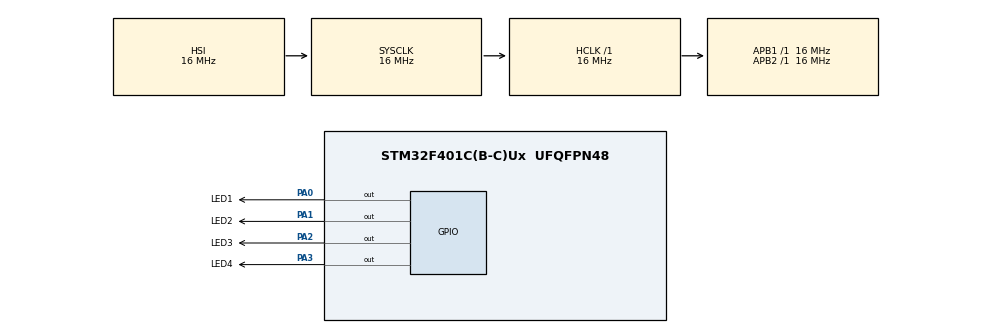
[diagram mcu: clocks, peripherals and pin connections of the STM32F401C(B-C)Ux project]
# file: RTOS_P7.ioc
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FREERTOS.Tasks01=defaultTask,0,128,StartDefaultTask,Default,NULL,Dynamic,NULL,NULL;LedRedTaks,0,128,red_led,Default,NULL,Dynamic,NULL,NULL;GreenLedTask,0,128,green_led,Default,NULL,Dynamic,NULL,NULL;YellowLedTask,-3,128,yellow_led,Default,NULL,Dynamic,NULL,NULL
FREERTOS.configUSE_NEWLIB_REENTRANT=1
Mcu.Family=STM32F4
Mcu.Name=STM32F401C(B-C)Ux
Mcu.Package=UFQFPN48
NVIC.PriorityGroup=NVIC_PRIORITYGROUP_4
NVIC.TIM4_IRQn=true\:15\:0\:false\:false\:true\:false\:false\:true\:true
NVIC.TimeBase=TIM4_IRQn
NVIC.TimeBaseIP=TIM4
PA0-WKUP.GPIO_Label=LED1
PA0-WKUP.Signal=GPIO_Output
PA1.GPIO_Label=LED2
PA1.Signal=GPIO_Output
PA13.Mode=Serial_Wire
PA13.Signal=SYS_JTMS-SWDIO
PA14.Mode=Serial_Wire
PA14.Signal=SYS_JTCK-SWCLK
PA2.GPIO_Label=LED3
PA2.Signal=GPIO_Output
PA3.GPIO_Label=LED4
PA3.Signal=GPIO_Output
ProjectManager.HeapSize=0x200
ProjectManager.StackSize=0x400
ProjectManager.TargetToolchain=STM32CubeIDE
RCC.AHBFreq_Value=16000000
RCC.APB1Freq_Value=16000000
RCC.APB2Freq_Value=16000000
RCC.CortexFreq_Value=16000000
RCC.HSE_VALUE=25000000
RCC.HSI_VALUE=16000000
RCC.LSE_VALUE=32768
RCC.SYSCLKFreq_VALUE=16000000
RCC.VCOOutputFreq_Value=192000000
VP_FREERTOS_VS_CMSIS_V1.Mode=CMSIS_V1
VP_SYS_VS_tim4.Mode=TIM4
board=custom

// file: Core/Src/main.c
/* USER CODE BEGIN Header */
/**
  ******************************************************************************
  * @file           : main.c
  * @brief          : Main program body
  ******************************************************************************
  * @attention
  *
  * Copyright (c) 2024 STMicroelectronics.
  * All rights reserved.
  *
  * This software is licensed under terms that can be found in the LICENSE file
  * in the root directory of this software component.
  * If no LICENSE file comes with this software, it is provided AS-IS.
  *
  ******************************************************************************
  */
/* USER CODE END Header */
#include "main.h"
#include "cmsis_os.h"

osThreadId defaultTaskHandle;
osThreadId LedRedTaksHandle;
osThreadId GreenLedTaskHandle;
osThreadId YellowLedTaskHandle;
/* USER CODE BEGIN PV */
volatile uint8_t startFlag = 1;
/* USER CODE END PV */

void SystemClock_Config(void);
static void MX_GPIO_Init(void);
void StartDefaultTask(void const * argument);
void red_led(void const * argument);
void green_led(void const * argument);
void yellow_led(void const * argument);

int main(void)
{

  /* MCU Configuration--------------------------------------------------------*/

  /* Reset of all peripherals, Initializes the Flash interface and the Systick. */
  HAL_Init();

  /* Configure the system clock */
  SystemClock_Config();

  /* Initialize all configured peripherals */
  MX_GPIO_Init();

  /* Create the thread(s) */
  /* definition and creation of defaultTask */
  osThreadDef(defaultTask, StartDefaultTask, osPriorityNormal, 0, 128);
  defaultTaskHandle = osThreadCreate(osThread(defaultTask), NULL);

  /* definition and creation of LedRedTaks */
  osThreadDef(LedRedTaks, red_led, osPriorityNormal, 0, 128);
  LedRedTaksHandle = osThreadCreate(osThread(LedRedTaks), NULL);

  /* definition and creation of GreenLedTask */
  osThreadDef(GreenLedTask, green_led, osPriorityNormal, 0, 128);
  GreenLedTaskHandle = osThreadCreate(osThread(GreenLedTask), NULL);

  /* definition and creation of YellowLedTask */
  osThreadDef(YellowLedTask, yellow_led, osPriorityIdle, 0, 128);
  YellowLedTaskHandle = osThreadCreate(osThread(YellowLedTask), NULL);

  /* Start scheduler */
  osKernelStart();

  /* We should never get here as control is now taken by the scheduler */

  /* Infinite loop */
  while (1)
  {

  }
}

void SystemClock_Config(void)
{
  RCC_OscInitTypeDef RCC_OscInitStruct = {0};
  RCC_ClkInitTypeDef RCC_ClkInitStruct = {0};

  /** Configure the main internal regulator output voltage
  */
  __HAL_RCC_PWR_CLK_ENABLE();
  __HAL_PWR_VOLTAGESCALING_CONFIG(PWR_REGULATOR_VOLTAGE_SCALE2);

  /** Initializes the RCC Oscillators according to the specified parameters
  * in the RCC_OscInitTypeDef structure.
  */
  RCC_OscInitStruct.OscillatorType = RCC_OSCILLATORTYPE_HSI;
  RCC_OscInitStruct.HSIState = RCC_HSI_ON;
  RCC_OscInitStruct.HSICalibrationValue = RCC_HSICALIBRATION_DEFAULT;
  RCC_OscInitStruct.PLL.PLLState = RCC_PLL_NONE;
  if (HAL_RCC_OscConfig(&RCC_OscInitStruct) != HAL_OK)
  {
    Error_Handler();
  }

  /** Initializes the CPU, AHB and APB buses clocks
  */
  RCC_ClkInitStruct.ClockType = RCC_CLOCKTYPE_HCLK|RCC_CLOCKTYPE_SYSCLK
                              |RCC_CLOCKTYPE_PCLK1|RCC_CLOCKTYPE_PCLK2;
  RCC_ClkInitStruct.SYSCLKSource = RCC_SYSCLKSOURCE_HSI;
  RCC_ClkInitStruct.AHBCLKDivider = RCC_SYSCLK_DIV1;
  RCC_ClkInitStruct.APB1CLKDivider = RCC_HCLK_DIV1;
  RCC_ClkInitStruct.APB2CLKDivider = RCC_HCLK_DIV1;

  if (HAL_RCC_ClockConfig(&RCC_ClkInitStruct, FLASH_LATENCY_0) != HAL_OK)
  {
    Error_Handler();
  }
}

static void MX_GPIO_Init(void)
{
  GPIO_InitTypeDef GPIO_InitStruct = {0};

  /* GPIO Ports Clock Enable */
  __HAL_RCC_GPIOA_CLK_ENABLE();

  /*Configure GPIO pin Output Level */
  HAL_GPIO_WritePin(GPIOA, LED1_Pin|LED2_Pin|LED3_Pin|LED4_Pin, GPIO_PIN_RESET);

  /*Configure GPIO pins : LED1_Pin LED2_Pin LED3_Pin LED4_Pin */
  GPIO_InitStruct.Pin = LED1_Pin|LED2_Pin|LED3_Pin|LED4_Pin;
  GPIO_InitStruct.Mode = GPIO_MODE_OUTPUT_PP;
  GPIO_InitStruct.Pull = GPIO_NOPULL;
  GPIO_InitStruct.Speed = GPIO_SPEED_FREQ_LOW;
  HAL_GPIO_Init(GPIOA, &GPIO_InitStruct);

}

void StartDefaultTask(void const * argument)
{
  for(;;)
  {
    osDelay(1);
  }
}

void red_led(void const * argument)
{
  /* USER CODE BEGIN red_led */
  /* Infinite loop */
	for(;;)
		    {
		        // Menyalakan LED Merah
		        HAL_GPIO_WritePin(GPIOA, GPIO_PIN_1, GPIO_PIN_SET);

		        // Mengakses data bersama dengan critical section
		        taskENTER_CRITICAL();
		        accessSharedData();
		        taskEXIT_CRITICAL();

		        // Mematikan LED Merah
		        HAL_GPIO_WritePin(GPIOA, GPIO_PIN_1, GPIO_PIN_RESET);

		        // Menunda 550 ms
		        osDelay(550);
		    }
  /* USER CODE END red_led */
}

void green_led(void const * argument)
{
  /* USER CODE BEGIN green_led */
  /* Infinite loop */
	for(;;)
		  {
		    // Menyalakan LED Hijau
		    HAL_GPIO_WritePin(GPIOA, GPIO_PIN_0, GPIO_PIN_SET);

		    // Mengakses data bersama dengan critical section
		    taskENTER_CRITICAL();
		    accessSharedData();
		    taskEXIT_CRITICAL();

		    // Mematikan LED Hijau
		    HAL_GPIO_WritePin(GPIOA, GPIO_PIN_0, GPIO_PIN_RESET);

		    // Menunda 200 ms
		    osDelay(200);
		  }
  /* USER CODE END green_led */
}

void yellow_led(void const * argument)
{
  /* USER CODE BEGIN yellow_led */
  /* Infinite loop */
	 for(;;)
		  {
		    // Toggle LED Oranye setiap 50 ms
		    HAL_GPIO_TogglePin(GPIOA, GPIO_PIN_2);

		    // Menunda 50 ms
		    osDelay(50);
		  }
  /* USER CODE END yellow_led */
}

void accessSharedData(void)
{
  if (startFlag == 1)
  {
    // Set flag ke 0
    startFlag = 0;
  }
  else
  {
    // Menyalakan LED Biru untuk menunjukkan konflik
    HAL_GPIO_WritePin(GPIOA, GPIO_PIN_3, GPIO_PIN_SET);
  }

  // Simulasi operasi baca/tulis selama 1000 ms
  osDelay(1000);

  // Mengatur flag kembali ke 1
  startFlag = 1;

  // Mematikan LED Biru
  HAL_GPIO_WritePin(GPIOA, GPIO_PIN_4, GPIO_PIN_RESET);
}
void HAL_TIM_PeriodElapsedCallback(TIM_HandleTypeDef *htim)
{
  if (htim->Instance == TIM4) {
    HAL_IncTick();
  }
}

void Error_Handler(void)
{
  __disable_irq();
  while (1)
  {
  }
}
